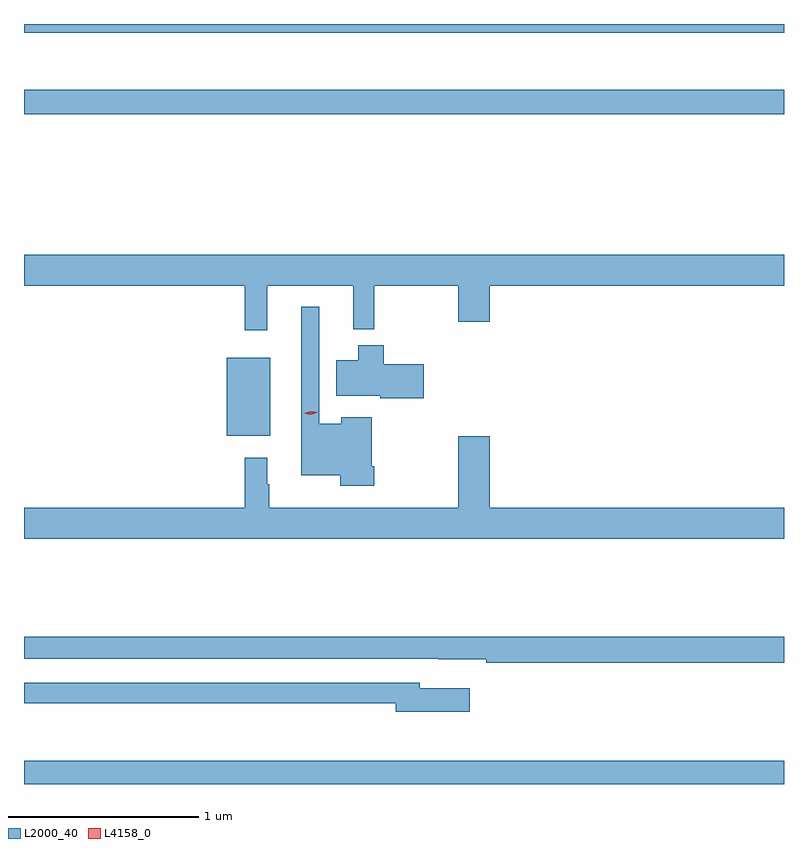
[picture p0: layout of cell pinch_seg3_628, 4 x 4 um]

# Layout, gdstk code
import gdstk
lib = gdstk.Library(unit=1e-6, precision=1e-09)
def R(c, l, rs):  # rectangles x0, y0, x1, y1
    for r in rs: c.add(gdstk.rectangle(r[:2], r[2:], *l))
def P(c, l, *ps):  # polygons
    for p in ps: c.add(gdstk.Polygon(p, *l))
L2000_40 = (2000, 40)
L4158_0 = (4158, 0)

pinch_seg3_628 = lib.new_cell('pinch_seg3_628')
R(pinch_seg3_628, L2000_40, [(1049.834,680.978,1053.834,681.1), (1050.902,682.811,1051.129,683.221), (1049.834,684.502,1053.834,684.631), (1049.834,684.932,1053.834,684.978)])
P(pinch_seg3_628, L2000_40, [(1051.115,683.6),(1051.568,683.6),(1051.568,683.372),(1051.678,683.372),(1051.678,683.6),(1052.12,683.6),(1052.12,683.412),(1052.284,683.412),(1052.284,683.6),(1053.834,683.6),(1053.834,683.764),(1049.834,683.764),(1049.834,683.6),(1050.997,683.6),(1050.997,683.367),(1051.115,683.367)],
  [(1051.677,682.651),(1051.663,682.651),(1051.663,682.909),(1051.505,682.909),(1051.505,682.873),(1051.389,682.873),(1051.389,683.491),(1051.292,683.491),(1051.292,682.604),(1051.498,682.604),(1051.498,682.547),(1051.677,682.547)],
  [(1051.939,683.187),(1051.727,683.187),(1051.727,683.287),(1051.592,683.287),(1051.592,683.209),(1051.478,683.209),(1051.478,683.021),(1051.71,683.021),(1051.71,683.009),(1051.939,683.009)],
  [(1053.834,682.432),(1052.284,682.432),(1052.284,682.807),(1052.12,682.807),(1052.12,682.432),(1051.126,682.432),(1051.126,682.556),(1051.114,682.556),(1051.114,682.696),(1050.997,682.696),(1050.997,682.432),(1049.834,682.432),(1049.834,682.268),(1053.834,682.268)],
  [(1053.834,681.752),(1049.834,681.752),(1049.834,681.636),(1052.014,681.636),(1052.014,681.635),(1052.266,681.635),(1052.266,681.616),(1053.834,681.616)],
  [(1052.179,681.481),(1051.918,681.481),(1051.918,681.51),(1049.834,681.51),(1049.834,681.402),(1051.79,681.402),(1051.79,681.359),(1052.179,681.359)])
P(pinch_seg3_628, L4158_0, [(1051.344,682.922),(1051.308,682.929),(1051.308,682.929),(1051.308,682.929),(1051.342,682.941),(1051.379,682.934),(1051.379,682.934),(1051.379,682.934)])

lib.write_gds('pinch_seg3_628.gds')
